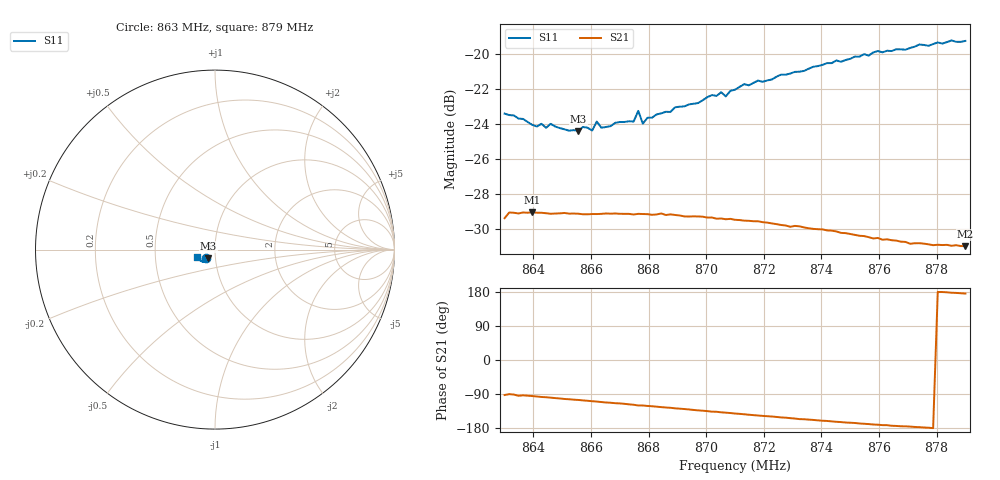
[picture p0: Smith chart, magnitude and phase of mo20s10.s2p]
# HZ S RI R 50
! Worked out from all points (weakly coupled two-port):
!   101 points, 863 MHz to 879 MHz, reference 50 ohm
!   highest |S21| = -29.02 dB at 863.96 MHz (marker M1); lowest = -31.0 dB at 879 MHz (marker M2)
!   lowest |S11| = -24.4 dB at 865.56 MHz (marker M3), VSWR 1.13, Z = 46.2 - j4.42 ohm
!   |S11| at or under -10 dB: start of sweep to end of sweep
!   S12 and S22 are empty: the file has one direction only
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8.63e8  -0.0486 -0.0472  -0.00148 -0.034  0 0  0 0
8.6316e8  -0.0481 -0.0468  -2.9e-05 -0.0353  0 0  0 0
8.6396e8  -0.0432 -0.0458  -0.00318 -0.0353  0 0  0 0
8.6428e8  -0.0424 -0.0471  -0.00466 -0.035  0 0  0 0
8.6444e8  -0.0405 -0.0466  -0.00503 -0.0348  0 0  0 0
8.646e8  -0.0418 -0.0476  -0.00571 -0.0346  0 0  0 0
8.6556e8  -0.0372 -0.0477  -0.00933 -0.0338  0 0  0 0
8.6572e8  -0.0377 -0.0493  -0.00995 -0.0335  0 0  0 0
8.6604e8  -0.0355 -0.0491  -0.0112 -0.0331  0 0  0 0
8.662e8  -0.0386 -0.0515  -0.0118 -0.0329  0 0  0 0
8.6636e8  -0.036 -0.0502  -0.0125 -0.0327  0 0  0 0
8.6748e8  -0.0338 -0.0547  -0.0165 -0.0308  0 0  0 0
8.6764e8  -0.0398 -0.0564  -0.0175 -0.0303  0 0  0 0
8.678e8  -0.0335 -0.0539  -0.0175 -0.0303  0 0  0 0
8.6796e8  -0.0351 -0.0558  -0.0181 -0.0299  0 0  0 0
8.6844e8  -0.0357 -0.0577  -0.0198 -0.029  0 0  0 0
8.7052e8  -0.0427 -0.0653  -0.0253 -0.0227  0 0  0 0
8.7068e8  -0.0412 -0.0637  -0.0255 -0.0222  0 0  0 0
8.71e8  -0.0439 -0.066  -0.0263 -0.021  0 0  0 0
8.7372e8  -0.0618 -0.0685  -0.0295 -0.0118  0 0  0 0
8.7644e8  -0.0838 -0.0587  -0.0293 -0.00332  0 0  0 0
8.79e8  -0.1018 -0.0399  -0.0282 0.00232  0 0  0 0
